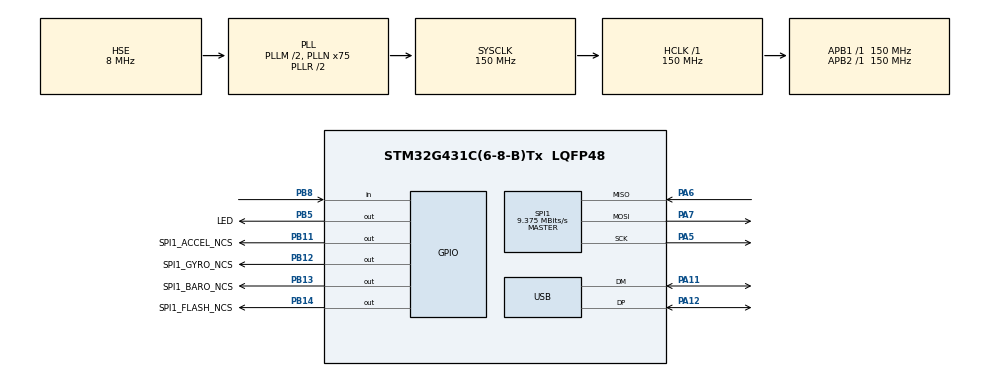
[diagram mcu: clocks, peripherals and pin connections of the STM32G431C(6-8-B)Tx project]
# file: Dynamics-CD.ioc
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Dma.Request0=SPI1_RX
Dma.Request1=SPI1_TX
Dma.SPI1_RX.0.Direction=DMA_PERIPH_TO_MEMORY
Dma.SPI1_RX.0.EventEnable=DISABLE
Dma.SPI1_RX.0.Instance=DMA1_Channel1
Dma.SPI1_RX.0.MemDataAlignment=DMA_MDATAALIGN_BYTE
Dma.SPI1_RX.0.MemInc=DMA_MINC_ENABLE
Dma.SPI1_RX.0.Mode=DMA_NORMAL
Dma.SPI1_RX.0.PeriphDataAlignment=DMA_PDATAALIGN_BYTE
Dma.SPI1_RX.0.PeriphInc=DMA_PINC_DISABLE
Dma.SPI1_RX.0.Polarity=HAL_DMAMUX_REQ_GEN_RISING
Dma.SPI1_RX.0.Priority=DMA_PRIORITY_HIGH
Dma.SPI1_RX.0.RequestNumber=1
Dma.SPI1_RX.0.SignalID=NONE
Dma.SPI1_RX.0.SyncEnable=DISABLE
Dma.SPI1_RX.0.SyncPolarity=HAL_DMAMUX_SYNC_NO_EVENT
Dma.SPI1_RX.0.SyncRequestNumber=1
Dma.SPI1_RX.0.SyncSignalID=NONE
Dma.SPI1_TX.1.Direction=DMA_MEMORY_TO_PERIPH
Dma.SPI1_TX.1.EventEnable=DISABLE
Dma.SPI1_TX.1.Instance=DMA1_Channel2
Dma.SPI1_TX.1.MemDataAlignment=DMA_MDATAALIGN_BYTE
Dma.SPI1_TX.1.MemInc=DMA_MINC_ENABLE
Dma.SPI1_TX.1.Mode=DMA_NORMAL
Dma.SPI1_TX.1.PeriphDataAlignment=DMA_PDATAALIGN_BYTE
Dma.SPI1_TX.1.PeriphInc=DMA_PINC_DISABLE
Dma.SPI1_TX.1.Polarity=HAL_DMAMUX_REQ_GEN_RISING
Dma.SPI1_TX.1.Priority=DMA_PRIORITY_HIGH
Dma.SPI1_TX.1.RequestNumber=1
Dma.SPI1_TX.1.SignalID=NONE
Dma.SPI1_TX.1.SyncEnable=DISABLE
Dma.SPI1_TX.1.SyncPolarity=HAL_DMAMUX_SYNC_NO_EVENT
Dma.SPI1_TX.1.SyncRequestNumber=1
Dma.SPI1_TX.1.SyncSignalID=NONE
Mcu.Family=STM32G4
Mcu.Name=STM32G431C(6-8-B)Tx
Mcu.Package=LQFP48
NVIC.DMA1_Channel1_IRQn=true\:0\:0\:false\:false\:true\:false\:true\:true
NVIC.DMA1_Channel2_IRQn=true\:0\:0\:false\:false\:true\:false\:true\:true
NVIC.PriorityGroup=NVIC_PRIORITYGROUP_4
PA11.Mode=Device
PA11.Signal=USB_DM
PA12.Mode=Device
PA12.Signal=USB_DP
PA13.Mode=Trace_Asynchronous_SW
PA13.Signal=SYS_JTMS-SWDIO
PA14.Mode=Trace_Asynchronous_SW
PA14.Signal=SYS_JTCK-SWCLK
PA5.Mode=Full_Duplex_Master
PA5.Signal=SPI1_SCK
PA6.Mode=Full_Duplex_Master
PA6.Signal=SPI1_MISO
PA7.Mode=Full_Duplex_Master
PA7.Signal=SPI1_MOSI
PB11.GPIO_Label=SPI1_ACCEL_NCS
PB11.Signal=GPIO_Output
PB12.GPIO_Label=SPI1_GYRO_NCS
PB12.Signal=GPIO_Output
PB13.GPIO_Label=SPI1_BARO_NCS
PB13.Signal=GPIO_Output
PB14.GPIO_Label=SPI1_FLASH_NCS
PB14.Signal=GPIO_Output
PB3.Mode=Trace_Asynchronous_SW
PB3.Signal=SYS_JTDO-SWO
PB5.GPIO_Label=LED
PB5.Signal=GPIO_Output
PB8-BOOT0.GPIO_PuPd=GPIO_PULLDOWN
PB8-BOOT0.Signal=GPIO_Input
PC14-OSC32_IN.Mode=LSE-External-Oscillator
PC14-OSC32_IN.Signal=RCC_OSC32_IN
PC15-OSC32_OUT.Mode=LSE-External-Oscillator
PC15-OSC32_OUT.Signal=RCC_OSC32_OUT
PF0-OSC_IN.Mode=HSE-External-Oscillator
PF0-OSC_IN.Signal=RCC_OSC_IN
PF1-OSC_OUT.Mode=HSE-External-Oscillator
PF1-OSC_OUT.Signal=RCC_OSC_OUT
ProjectManager.HeapSize=0x200
ProjectManager.StackSize=0x400
ProjectManager.TargetToolchain=STM32CubeIDE
RCC.ADC12Freq_Value=150000000
RCC.AHBFreq_Value=150000000
RCC.APB1Freq_Value=150000000
RCC.APB1TimFreq_Value=150000000
RCC.APB2Freq_Value=150000000
RCC.APB2TimFreq_Value=150000000
RCC.CK48CLockSelection=RCC_USBCLKSOURCE_HSI48
RCC.CortexFreq_Value=150000000
RCC.EXTERNAL_CLOCK_VALUE=12288000
RCC.HCLKFreq_Value=150000000
RCC.HSE_VALUE=8000000
RCC.HSI48_VALUE=48000000
RCC.HSI_VALUE=16000000
RCC.PLLM=RCC_PLLM_DIV2
RCC.PLLN=75
RCC.PLLQ=RCC_PLLQ_DIV6
RCC.PLLSourceVirtual=RCC_PLLSOURCE_HSE
RCC.SYSCLKFreq_VALUE=150000000
RCC.SYSCLKSource=RCC_SYSCLKSOURCE_PLLCLK
RCC.USBFreq_Value=48000000
RCC.VCOOutputFreq_Value=300000000
SPI1.BaudRatePrescaler=SPI_BAUDRATEPRESCALER_16
SPI1.CLKPhase=SPI_PHASE_1EDGE
SPI1.CLKPolarity=SPI_POLARITY_LOW
SPI1.CRCCalculation=SPI_CRCCALCULATION_DISABLE
SPI1.CalculateBaudRate=9.375 MBits/s
SPI1.DataSize=SPI_DATASIZE_8BIT
SPI1.Direction=SPI_DIRECTION_2LINES
SPI1.Mode=SPI_MODE_MASTER
SPI1.NSSPMode=SPI_NSS_PULSE_DISABLE
SPI1.VirtualType=VM_MASTER
TIM3.PeriodNoDither=100-1
TIM3.Prescaler=14400-1
VP_TIM3_VS_ClockSourceINT.Mode=Internal
board=custom

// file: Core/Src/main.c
/* USER CODE BEGIN Header */
/**
  ******************************************************************************
  * @file           : main.c
  * @brief          : Main program body
  ******************************************************************************
  * @attention
  *
  * Copyright (c) 2023 STMicroelectronics.
  * All rights reserved.
  *
  * This software is licensed under terms that can be found in the LICENSE file
  * in the root directory of this software component.
  * If no LICENSE file comes with this software, it is provided AS-IS.
  *
  ******************************************************************************
  */
/* USER CODE END Header */
#include "main.h"

/* USER CODE BEGIN Includes */
#include <stdio.h>

#include "BMI088.h"
#include "bmp3.h"
#include "flash.h"
/* USER CODE END Includes */

SPI_HandleTypeDef hspi1;
DMA_HandleTypeDef hdma_spi1_rx;
DMA_HandleTypeDef hdma_spi1_tx;

TIM_HandleTypeDef htim3;

PCD_HandleTypeDef hpcd_USB_FS;

/* USER CODE BEGIN PV */
BMI088 imu;
struct bmp3_dev baro;
/* USER CODE END PV */

void SystemClock_Config(void);
static void MX_GPIO_Init(void);
static void MX_DMA_Init(void);
static void MX_SPI1_Init(void);
static void MX_TIM3_Init(void);
static void MX_USB_PCD_Init(void);
/* USER CODE BEGIN PFP */
void setup(void);
void loop(void);
/* USER CODE END PFP */

int main(void)
{

  /* MCU Configuration--------------------------------------------------------*/

  /* Reset of all peripherals, Initializes the Flash interface and the Systick. */
  HAL_Init();

  /* Configure the system clock */
  SystemClock_Config();

  /* Initialize all configured peripherals */
  MX_GPIO_Init();
  MX_DMA_Init();
  MX_SPI1_Init();
  MX_TIM3_Init();
  MX_USB_PCD_Init();
  /* USER CODE BEGIN 2 */
  setup();
  /* USER CODE END 2 */

  /* Infinite loop */
  /* USER CODE BEGIN WHILE */
  while (1)
  {
	  loop();
    /* USER CODE END WHILE */

  }
}

void SystemClock_Config(void)
{
  RCC_OscInitTypeDef RCC_OscInitStruct = {0};
  RCC_ClkInitTypeDef RCC_ClkInitStruct = {0};

  /** Configure the main internal regulator output voltage
  */
  HAL_PWREx_ControlVoltageScaling(PWR_REGULATOR_VOLTAGE_SCALE1);

  /** Initializes the RCC Oscillators according to the specified parameters
  * in the RCC_OscInitTypeDef structure.
  */
  RCC_OscInitStruct.OscillatorType = RCC_OSCILLATORTYPE_HSI48|RCC_OSCILLATORTYPE_HSE;
  RCC_OscInitStruct.HSEState = RCC_HSE_ON;
  RCC_OscInitStruct.HSI48State = RCC_HSI48_ON;
  RCC_OscInitStruct.PLL.PLLState = RCC_PLL_ON;
  RCC_OscInitStruct.PLL.PLLSource = RCC_PLLSOURCE_HSE;
  RCC_OscInitStruct.PLL.PLLM = RCC_PLLM_DIV2;
  RCC_OscInitStruct.PLL.PLLN = 75;
  RCC_OscInitStruct.PLL.PLLP = RCC_PLLP_DIV2;
  RCC_OscInitStruct.PLL.PLLQ = RCC_PLLQ_DIV6;
  RCC_OscInitStruct.PLL.PLLR = RCC_PLLR_DIV2;
  if (HAL_RCC_OscConfig(&RCC_OscInitStruct) != HAL_OK)
  {
    Error_Handler();
  }

  /** Initializes the CPU, AHB and APB buses clocks
  */
  RCC_ClkInitStruct.ClockType = RCC_CLOCKTYPE_HCLK|RCC_CLOCKTYPE_SYSCLK
                              |RCC_CLOCKTYPE_PCLK1|RCC_CLOCKTYPE_PCLK2;
  RCC_ClkInitStruct.SYSCLKSource = RCC_SYSCLKSOURCE_PLLCLK;
  RCC_ClkInitStruct.AHBCLKDivider = RCC_SYSCLK_DIV1;
  RCC_ClkInitStruct.APB1CLKDivider = RCC_HCLK_DIV1;
  RCC_ClkInitStruct.APB2CLKDivider = RCC_HCLK_DIV1;

  if (HAL_RCC_ClockConfig(&RCC_ClkInitStruct, FLASH_LATENCY_4) != HAL_OK)
  {
    Error_Handler();
  }
}

static void MX_SPI1_Init(void)
{

  /* SPI1 parameter configuration*/
  hspi1.Instance = SPI1;
  hspi1.Init.Mode = SPI_MODE_MASTER;
  hspi1.Init.Direction = SPI_DIRECTION_2LINES;
  hspi1.Init.DataSize = SPI_DATASIZE_8BIT;
  hspi1.Init.CLKPolarity = SPI_POLARITY_LOW;
  hspi1.Init.CLKPhase = SPI_PHASE_1EDGE;
  hspi1.Init.NSS = SPI_NSS_SOFT;
  hspi1.Init.BaudRatePrescaler = SPI_BAUDRATEPRESCALER_16;
  hspi1.Init.FirstBit = SPI_FIRSTBIT_MSB;
  hspi1.Init.TIMode = SPI_TIMODE_DISABLE;
  hspi1.Init.CRCCalculation = SPI_CRCCALCULATION_DISABLE;
  hspi1.Init.CRCPolynomial = 7;
  hspi1.Init.CRCLength = SPI_CRC_LENGTH_DATASIZE;
  hspi1.Init.NSSPMode = SPI_NSS_PULSE_DISABLE;
  if (HAL_SPI_Init(&hspi1) != HAL_OK)
  {
    Error_Handler();
  }

}

static void MX_TIM3_Init(void)
{

  TIM_ClockConfigTypeDef sClockSourceConfig = {0};
  TIM_MasterConfigTypeDef sMasterConfig = {0};

  htim3.Instance = TIM3;
  htim3.Init.Prescaler = 14400-1;
  htim3.Init.CounterMode = TIM_COUNTERMODE_UP;
  htim3.Init.Period = 99;
  htim3.Init.ClockDivision = TIM_CLOCKDIVISION_DIV1;
  htim3.Init.AutoReloadPreload = TIM_AUTORELOAD_PRELOAD_DISABLE;
  if (HAL_TIM_Base_Init(&htim3) != HAL_OK)
  {
    Error_Handler();
  }
  sClockSourceConfig.ClockSource = TIM_CLOCKSOURCE_INTERNAL;
  if (HAL_TIM_ConfigClockSource(&htim3, &sClockSourceConfig) != HAL_OK)
  {
    Error_Handler();
  }
  sMasterConfig.MasterOutputTrigger = TIM_TRGO_RESET;
  sMasterConfig.MasterSlaveMode = TIM_MASTERSLAVEMODE_DISABLE;
  if (HAL_TIMEx_MasterConfigSynchronization(&htim3, &sMasterConfig) != HAL_OK)
  {
    Error_Handler();
  }

}

static void MX_USB_PCD_Init(void)
{

  hpcd_USB_FS.Instance = USB;
  hpcd_USB_FS.Init.dev_endpoints = 8;
  hpcd_USB_FS.Init.speed = PCD_SPEED_FULL;
  hpcd_USB_FS.Init.phy_itface = PCD_PHY_EMBEDDED;
  hpcd_USB_FS.Init.Sof_enable = DISABLE;
  hpcd_USB_FS.Init.low_power_enable = DISABLE;
  hpcd_USB_FS.Init.lpm_enable = DISABLE;
  hpcd_USB_FS.Init.battery_charging_enable = DISABLE;
  if (HAL_PCD_Init(&hpcd_USB_FS) != HAL_OK)
  {
    Error_Handler();
  }

}

static void MX_DMA_Init(void)
{

  /* DMA controller clock enable */
  __HAL_RCC_DMAMUX1_CLK_ENABLE();
  __HAL_RCC_DMA1_CLK_ENABLE();

  /* DMA interrupt init */
  /* DMA1_Channel1_IRQn interrupt configuration */
  HAL_NVIC_SetPriority(DMA1_Channel1_IRQn, 0, 0);
  HAL_NVIC_EnableIRQ(DMA1_Channel1_IRQn);
  /* DMA1_Channel2_IRQn interrupt configuration */
  HAL_NVIC_SetPriority(DMA1_Channel2_IRQn, 0, 0);
  HAL_NVIC_EnableIRQ(DMA1_Channel2_IRQn);

}

static void MX_GPIO_Init(void)
{
  GPIO_InitTypeDef GPIO_InitStruct = {0};

  /* GPIO Ports Clock Enable */
  __HAL_RCC_GPIOC_CLK_ENABLE();
  __HAL_RCC_GPIOF_CLK_ENABLE();
  __HAL_RCC_GPIOA_CLK_ENABLE();
  __HAL_RCC_GPIOB_CLK_ENABLE();

  /*Configure GPIO pin Output Level */
  HAL_GPIO_WritePin(GPIOB, SPI1_ACCEL_NCS_Pin|SPI1_GYRO_NCS_Pin|SPI1_BARO_NCS_Pin|SPI1_FLASH_NCS_Pin
                          |LED_Pin, GPIO_PIN_RESET);

  /*Configure GPIO pins : SPI1_ACCEL_NCS_Pin SPI1_GYRO_NCS_Pin SPI1_BARO_NCS_Pin SPI1_FLASH_NCS_Pin
                           LED_Pin */
  GPIO_InitStruct.Pin = SPI1_ACCEL_NCS_Pin|SPI1_GYRO_NCS_Pin|SPI1_BARO_NCS_Pin|SPI1_FLASH_NCS_Pin
                          |LED_Pin;
  GPIO_InitStruct.Mode = GPIO_MODE_OUTPUT_PP;
  GPIO_InitStruct.Pull = GPIO_NOPULL;
  GPIO_InitStruct.Speed = GPIO_SPEED_FREQ_LOW;
  HAL_GPIO_Init(GPIOB, &GPIO_InitStruct);

  /*Configure GPIO pin : PB8 */
  GPIO_InitStruct.Pin = GPIO_PIN_8;
  GPIO_InitStruct.Mode = GPIO_MODE_INPUT;
  GPIO_InitStruct.Pull = GPIO_PULLDOWN;
  HAL_GPIO_Init(GPIOB, &GPIO_InitStruct);

}

/* USER CODE BEGIN 4 */
int _write(int file, char *ptr, int len) {
  int DataIdx;
  for (DataIdx = 0; DataIdx < len; DataIdx++) {
    ITM_SendChar(*ptr++);
  }
  return len;
}

void setup() {

	// Set all NCS pins high
	HAL_GPIO_WritePin(SPI1_ACCEL_NCS_GPIO_Port, SPI1_ACCEL_NCS_Pin, GPIO_PIN_SET);
	HAL_GPIO_WritePin(SPI1_GYRO_NCS_GPIO_Port, SPI1_GYRO_NCS_Pin, GPIO_PIN_SET);
	HAL_GPIO_WritePin(SPI1_BARO_NCS_GPIO_Port, SPI1_BARO_NCS_Pin, GPIO_PIN_SET);
	HAL_GPIO_WritePin(SPI1_FLASH_NCS_GPIO_Port, SPI1_FLASH_NCS_Pin, GPIO_PIN_SET);

	// LED set high
	HAL_GPIO_WritePin(LED_GPIO_Port, LED_Pin, GPIO_PIN_SET);

	BMI088_Init(&imu, &hspi1, SPI1_ACCEL_NCS_GPIO_Port, SPI1_ACCEL_NCS_Pin, SPI1_GYRO_NCS_GPIO_Port, SPI1_GYRO_NCS_Pin);

	LogInit();

	LogRead();

	HAL_Delay(5 * 1000);

	LogFlightSetup();
}

void updateBMI() {
	BMI088_ReadAccelerometer(&imu);
	BMI088_ReadGyroscope(&imu);
}

void blinkLED() {
	HAL_GPIO_TogglePin(LED_GPIO_Port, LED_Pin);
}

uint32_t LEDperiod = 200;

void loop() {
	uint32_t ms = HAL_GetTick();
	static uint32_t updateBMItime = 0;
	static uint32_t updateLEDtime = 0;

	if (ms > updateBMItime) {
		updateBMI();
		LogData(ms,
				imu.acc_mps2[0], imu.acc_mps2[1], imu.acc_mps2[2],
				imu.gyr_rps[0], imu.gyr_rps[1], imu.gyr_rps[2]
		);
		updateBMItime = HAL_GetTick() + 50;
	}
	if (ms > updateLEDtime) {
		blinkLED();
		updateLEDtime = HAL_GetTick() + LEDperiod;
	}

//	printf("%f\t%f\t%f\t%f\t%f\t%f\n", imu.acc_mps2[0], imu.acc_mps2[1], imu.acc_mps2[2], imu.gyr_rps[0], imu.gyr_rps[1], imu.gyr_rps[2]);
	HAL_Delay(1);
}
/* USER CODE END 4 */

void Error_Handler(void)
{
  __disable_irq();
  while (1)
  {
  }
}
